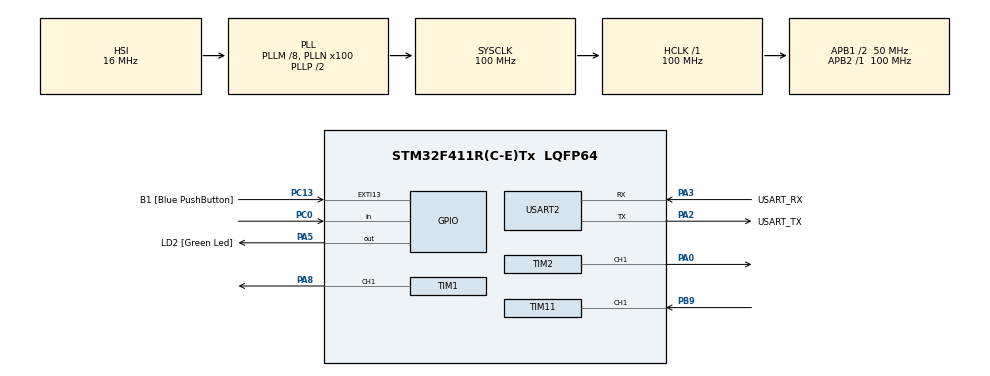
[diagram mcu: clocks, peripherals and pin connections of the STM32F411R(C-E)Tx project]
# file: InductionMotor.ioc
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Mcu.Family=STM32F4
Mcu.Name=STM32F411R(C-E)Tx
Mcu.Package=LQFP64
NVIC.PriorityGroup=NVIC_PRIORITYGROUP_0
NVIC.TIM1_TRG_COM_TIM11_IRQn=true\:0\:0\:false\:false\:true\:true\:true\:true
NVIC.USART2_IRQn=true\:0\:0\:false\:false\:true\:true\:true\:true
PA0-WKUP.Signal=S_TIM2_CH1_ETR
PA13.GPIO_Label=TMS
PA13.Mode=Serial_Wire
PA13.Signal=SYS_JTMS-SWDIO
PA14.GPIO_Label=TCK
PA14.Mode=Serial_Wire
PA14.Signal=SYS_JTCK-SWCLK
PA2.GPIO_Label=USART_TX
PA2.Mode=Asynchronous
PA2.Signal=USART2_TX
PA3.GPIO_Label=USART_RX
PA3.Mode=Asynchronous
PA3.Signal=USART2_RX
PA5.GPIO_Label=LD2 [Green Led]
PA5.Signal=GPIO_Output
PA8.Signal=S_TIM1_CH1
PB3.GPIO_Label=SWO
PB3.Signal=SYS_JTDO-SWO
PB9.Signal=S_TIM11_CH1
PC0.Signal=GPIO_Input
PC13-ANTI_TAMP.GPIO_Label=B1 [Blue PushButton]
PC13-ANTI_TAMP.GPIO_ModeDefaultEXTI=GPIO_MODE_IT_FALLING
PC13-ANTI_TAMP.Signal=GPXTI13
PC14-OSC32_IN.Mode=LSE-External-Oscillator
PC14-OSC32_IN.Signal=RCC_OSC32_IN
PC15-OSC32_OUT.Mode=LSE-External-Oscillator
PC15-OSC32_OUT.Signal=RCC_OSC32_OUT
PH0\ -\ OSC_IN.Mode=HSE-External-Clock-Source
PH0\ -\ OSC_IN.Signal=RCC_OSC_IN
PH1\ -\ OSC_OUT.Mode=HSE-External-Clock-Source
PH1\ -\ OSC_OUT.Signal=RCC_OSC_OUT
ProjectManager.HeapSize=0x200
ProjectManager.StackSize=0x400
ProjectManager.TargetToolchain=STM32CubeIDE
RCC.48MHZClocksFreq_Value=50000000
RCC.AHBFreq_Value=100000000
RCC.APB1CLKDivider=RCC_HCLK_DIV2
RCC.APB1Freq_Value=50000000
RCC.APB1TimFreq_Value=100000000
RCC.APB2Freq_Value=100000000
RCC.APB2TimFreq_Value=100000000
RCC.CortexFreq_Value=100000000
RCC.FLatency-AdvancedSettings=FLASH_LATENCY_3
RCC.HCLKFreq_Value=100000000
RCC.HSE_VALUE=8000000
RCC.HSI_VALUE=16000000
RCC.PLLM=8
RCC.PLLN=100
RCC.RCC_RTC_Clock_Source=RCC_RTCCLKSOURCE_LSI
RCC.RCC_RTC_Clock_SourceVirtual=RCC_RTCCLKSOURCE_LSI
RCC.SYSCLKFreq_VALUE=100000000
RCC.SYSCLKSource=RCC_SYSCLKSOURCE_PLLCLK
RCC.VCOOutputFreq_Value=200000000
SH.S_TIM11_CH1.0=TIM11_CH1,Input_Capture1_from_TI1
SH.S_TIM1_CH1.0=TIM1_CH1,PWM Generation1 CH1
SH.S_TIM2_CH1_ETR.0=TIM2_CH1,PWM Generation1 CH1
TIM1.AutoReloadPreload=TIM_AUTORELOAD_PRELOAD_ENABLE
TIM1.Channel-PWM\ Generation1\ CH1=TIM_CHANNEL_1
TIM1.OCFastMode_PWM-PWM\ Generation1\ CH1=TIM_OCFAST_ENABLE
TIM1.Period=100
TIM1.Prescaler=1-1
TIM1.Pulse-PWM\ Generation1\ CH1=10
TIM11.AutoReloadPreload=TIM_AUTORELOAD_PRELOAD_DISABLE
TIM11.Channel=TIM_CHANNEL_1
TIM11.ICPolarity_CH1=TIM_INPUTCHANNELPOLARITY_BOTHEDGE
TIM11.Prescaler=100-1
TIM2.AutoReloadPreload=TIM_AUTORELOAD_PRELOAD_ENABLE
TIM2.Channel-PWM\ Generation1\ CH1=TIM_CHANNEL_1
TIM2.OCFastMode_PWM-PWM\ Generation1\ CH1=TIM_OCFAST_ENABLE
TIM2.Period=10000
TIM2.Prescaler=200-1
TIM2.Pulse-PWM\ Generation1\ CH1=0
USART2.VirtualMode=VM_ASYNC
VP_TIM11_VS_ClockSourceINT.Mode=Enable_Timer
VP_TIM1_VS_ClockSourceINT.Mode=Internal
VP_TIM2_VS_ClockSourceINT.Mode=Internal
board=NUCLEO-F411RE

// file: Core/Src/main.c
/* USER CODE BEGIN Header */
/**
  ******************************************************************************
  * @file           : main.c
  * @brief          : Main program body
  ******************************************************************************
  * @attention
  *
  * Copyright (c) 2024 STMicroelectronics.
  * All rights reserved.
  *
  * This software is licensed under terms that can be found in the LICENSE file
  * in the root directory of this software component.
  * If no LICENSE file comes with this software, it is provided AS-IS.
  *
  ******************************************************************************
  */
/* USER CODE END Header */
#include "main.h"

TIM_HandleTypeDef htim1;
TIM_HandleTypeDef htim2;
TIM_HandleTypeDef htim11;

UART_HandleTypeDef huart2;

/* USER CODE BEGIN PV */
uint32_t EchoedValue = 0;
int messageUpdateTime=0;
int uart2Free=1;
uint32_t ServoUpdateTime=0;
int ServoAngle=0;
int servoDirection=0;
/* USER CODE END PV */

void SystemClock_Config(void);
static void MX_GPIO_Init(void);
static void MX_USART2_UART_Init(void);
static void MX_TIM1_Init(void);
static void MX_TIM11_Init(void);
static void MX_TIM2_Init(void);

/* USER CODE BEGIN 0 */
void HAL_TIM_IC_CaptureCallback(TIM_HandleTypeDef *htim){
	if(htim->Instance==TIM11){
		//Read value at falling edge
		if (!HAL_GPIO_ReadPin(GPIOB, GPIO_PIN_9)){
			 EchoedValue = HAL_TIM_ReadCapturedValue(&htim11, TIM_CHANNEL_1);
		}
		//Zero the value at rising edge
		else{
			__HAL_TIM_SET_COUNTER(&htim11,0);
		}
	}
  }

void HAL_UART_TxCpltCallback(UART_HandleTypeDef *huart){
	if (huart == &huart2){
		uart2Free=1;
	}
}
/* USER CODE END 0 */

int main(void)
{

  /* MCU Configuration--------------------------------------------------------*/

  /* Reset of all peripherals, Initializes the Flash interface and the Systick. */
  HAL_Init();

  /* Configure the system clock */
  SystemClock_Config();

  /* Initialize all configured peripherals */
  MX_GPIO_Init();
  MX_USART2_UART_Init();
  MX_TIM1_Init();
  MX_TIM11_Init();
  MX_TIM2_Init();
  /* USER CODE BEGIN 2 */
  HAL_TIM_PWM_Start(&htim1, TIM_CHANNEL_1);
  HAL_TIM_IC_Start_IT(&htim11, TIM_CHANNEL_1);
  HAL_TIM_PWM_Start(&htim2, TIM_CHANNEL_1);
  /* USER CODE END 2 */

  /* Infinite loop */
  /* USER CODE BEGIN WHILE */
  __HAL_TIM_SET_COMPARE(&htim2,TIM_CHANNEL_1,0);//250 to 1250
  while (1)
  {

	  if (HAL_GetTick()-messageUpdateTime>=50){
		  char message[100];
		  int messagaLen=0;
		  messagaLen=sprintf(&message,"Distance=%d,ServoAngle=%d, T=%d ,\n",EchoedValue/58,ServoAngle,messageUpdateTime);// microsecond divide by 58 will become distance in centimeter
		  if (uart2Free==1){
			  HAL_UART_Transmit_IT(&huart2, message, messagaLen);
			  uart2Free=0;
		  }
		  messageUpdateTime=HAL_GetTick();
	  }
	  if (HAL_GetTick()-ServoUpdateTime>=50){
		  if (ServoAngle>=1250){
			  servoDirection=1;
		  }
		  if (ServoAngle<=250){
			  servoDirection=0;
		  }
		  if (servoDirection==1){
			  ServoAngle-=5;
		  }
		  else{
			  ServoAngle+=5;
		  }
		  __HAL_TIM_SET_COMPARE(&htim2,TIM_CHANNEL_1,ServoAngle);//250 to 1250
		  ServoUpdateTime=HAL_GetTick();
	  }
    /* USER CODE END WHILE */

  }
}

void SystemClock_Config(void)
{
  RCC_OscInitTypeDef RCC_OscInitStruct = {0};
  RCC_ClkInitTypeDef RCC_ClkInitStruct = {0};

  /** Configure the main internal regulator output voltage
  */
  __HAL_RCC_PWR_CLK_ENABLE();
  __HAL_PWR_VOLTAGESCALING_CONFIG(PWR_REGULATOR_VOLTAGE_SCALE1);

  /** Initializes the RCC Oscillators according to the specified parameters
  * in the RCC_OscInitTypeDef structure.
  */
  RCC_OscInitStruct.OscillatorType = RCC_OSCILLATORTYPE_HSI|RCC_OSCILLATORTYPE_HSE;
  RCC_OscInitStruct.HSEState = RCC_HSE_BYPASS;
  RCC_OscInitStruct.HSIState = RCC_HSI_ON;
  RCC_OscInitStruct.HSICalibrationValue = RCC_HSICALIBRATION_DEFAULT;
  RCC_OscInitStruct.PLL.PLLState = RCC_PLL_ON;
  RCC_OscInitStruct.PLL.PLLSource = RCC_PLLSOURCE_HSI;
  RCC_OscInitStruct.PLL.PLLM = 8;
  RCC_OscInitStruct.PLL.PLLN = 100;
  RCC_OscInitStruct.PLL.PLLP = RCC_PLLP_DIV2;
  RCC_OscInitStruct.PLL.PLLQ = 4;
  if (HAL_RCC_OscConfig(&RCC_OscInitStruct) != HAL_OK)
  {
    Error_Handler();
  }

  /** Initializes the CPU, AHB and APB buses clocks
  */
  RCC_ClkInitStruct.ClockType = RCC_CLOCKTYPE_HCLK|RCC_CLOCKTYPE_SYSCLK
                              |RCC_CLOCKTYPE_PCLK1|RCC_CLOCKTYPE_PCLK2;
  RCC_ClkInitStruct.SYSCLKSource = RCC_SYSCLKSOURCE_PLLCLK;
  RCC_ClkInitStruct.AHBCLKDivider = RCC_SYSCLK_DIV1;
  RCC_ClkInitStruct.APB1CLKDivider = RCC_HCLK_DIV2;
  RCC_ClkInitStruct.APB2CLKDivider = RCC_HCLK_DIV1;

  if (HAL_RCC_ClockConfig(&RCC_ClkInitStruct, FLASH_LATENCY_3) != HAL_OK)
  {
    Error_Handler();
  }
}

static void MX_TIM1_Init(void)
{

  TIM_ClockConfigTypeDef sClockSourceConfig = {0};
  TIM_MasterConfigTypeDef sMasterConfig = {0};
  TIM_OC_InitTypeDef sConfigOC = {0};
  TIM_BreakDeadTimeConfigTypeDef sBreakDeadTimeConfig = {0};

  htim1.Instance = TIM1;
  htim1.Init.Prescaler = 1-1;
  htim1.Init.CounterMode = TIM_COUNTERMODE_UP;
  htim1.Init.Period = 100;
  htim1.Init.ClockDivision = TIM_CLOCKDIVISION_DIV1;
  htim1.Init.RepetitionCounter = 0;
  htim1.Init.AutoReloadPreload = TIM_AUTORELOAD_PRELOAD_ENABLE;
  if (HAL_TIM_Base_Init(&htim1) != HAL_OK)
  {
    Error_Handler();
  }
  sClockSourceConfig.ClockSource = TIM_CLOCKSOURCE_INTERNAL;
  if (HAL_TIM_ConfigClockSource(&htim1, &sClockSourceConfig) != HAL_OK)
  {
    Error_Handler();
  }
  if (HAL_TIM_PWM_Init(&htim1) != HAL_OK)
  {
    Error_Handler();
  }
  sMasterConfig.MasterOutputTrigger = TIM_TRGO_RESET;
  sMasterConfig.MasterSlaveMode = TIM_MASTERSLAVEMODE_DISABLE;
  if (HAL_TIMEx_MasterConfigSynchronization(&htim1, &sMasterConfig) != HAL_OK)
  {
    Error_Handler();
  }
  sConfigOC.OCMode = TIM_OCMODE_PWM1;
  sConfigOC.Pulse = 10;
  sConfigOC.OCPolarity = TIM_OCPOLARITY_HIGH;
  sConfigOC.OCNPolarity = TIM_OCNPOLARITY_HIGH;
  sConfigOC.OCFastMode = TIM_OCFAST_ENABLE;
  sConfigOC.OCIdleState = TIM_OCIDLESTATE_RESET;
  sConfigOC.OCNIdleState = TIM_OCNIDLESTATE_RESET;
  if (HAL_TIM_PWM_ConfigChannel(&htim1, &sConfigOC, TIM_CHANNEL_1) != HAL_OK)
  {
    Error_Handler();
  }
  sBreakDeadTimeConfig.OffStateRunMode = TIM_OSSR_DISABLE;
  sBreakDeadTimeConfig.OffStateIDLEMode = TIM_OSSI_DISABLE;
  sBreakDeadTimeConfig.LockLevel = TIM_LOCKLEVEL_OFF;
  sBreakDeadTimeConfig.DeadTime = 0;
  sBreakDeadTimeConfig.BreakState = TIM_BREAK_DISABLE;
  sBreakDeadTimeConfig.BreakPolarity = TIM_BREAKPOLARITY_HIGH;
  sBreakDeadTimeConfig.AutomaticOutput = TIM_AUTOMATICOUTPUT_DISABLE;
  if (HAL_TIMEx_ConfigBreakDeadTime(&htim1, &sBreakDeadTimeConfig) != HAL_OK)
  {
    Error_Handler();
  }
  HAL_TIM_MspPostInit(&htim1);

}

static void MX_TIM2_Init(void)
{

  TIM_ClockConfigTypeDef sClockSourceConfig = {0};
  TIM_MasterConfigTypeDef sMasterConfig = {0};
  TIM_OC_InitTypeDef sConfigOC = {0};

  htim2.Instance = TIM2;
  htim2.Init.Prescaler = 200-1;
  htim2.Init.CounterMode = TIM_COUNTERMODE_UP;
  htim2.Init.Period = 10000;
  htim2.Init.ClockDivision = TIM_CLOCKDIVISION_DIV1;
  htim2.Init.AutoReloadPreload = TIM_AUTORELOAD_PRELOAD_ENABLE;
  if (HAL_TIM_Base_Init(&htim2) != HAL_OK)
  {
    Error_Handler();
  }
  sClockSourceConfig.ClockSource = TIM_CLOCKSOURCE_INTERNAL;
  if (HAL_TIM_ConfigClockSource(&htim2, &sClockSourceConfig) != HAL_OK)
  {
    Error_Handler();
  }
  if (HAL_TIM_PWM_Init(&htim2) != HAL_OK)
  {
    Error_Handler();
  }
  sMasterConfig.MasterOutputTrigger = TIM_TRGO_RESET;
  sMasterConfig.MasterSlaveMode = TIM_MASTERSLAVEMODE_DISABLE;
  if (HAL_TIMEx_MasterConfigSynchronization(&htim2, &sMasterConfig) != HAL_OK)
  {
    Error_Handler();
  }
  sConfigOC.OCMode = TIM_OCMODE_PWM1;
  sConfigOC.Pulse = 0;
  sConfigOC.OCPolarity = TIM_OCPOLARITY_HIGH;
  sConfigOC.OCFastMode = TIM_OCFAST_ENABLE;
  if (HAL_TIM_PWM_ConfigChannel(&htim2, &sConfigOC, TIM_CHANNEL_1) != HAL_OK)
  {
    Error_Handler();
  }
  HAL_TIM_MspPostInit(&htim2);

}

static void MX_TIM11_Init(void)
{

  TIM_IC_InitTypeDef sConfigIC = {0};

  htim11.Instance = TIM11;
  htim11.Init.Prescaler = 100-1;
  htim11.Init.CounterMode = TIM_COUNTERMODE_UP;
  htim11.Init.Period = 65535;
  htim11.Init.ClockDivision = TIM_CLOCKDIVISION_DIV1;
  htim11.Init.AutoReloadPreload = TIM_AUTORELOAD_PRELOAD_DISABLE;
  if (HAL_TIM_Base_Init(&htim11) != HAL_OK)
  {
    Error_Handler();
  }
  if (HAL_TIM_IC_Init(&htim11) != HAL_OK)
  {
    Error_Handler();
  }
  sConfigIC.ICPolarity = TIM_INPUTCHANNELPOLARITY_BOTHEDGE;
  sConfigIC.ICSelection = TIM_ICSELECTION_DIRECTTI;
  sConfigIC.ICPrescaler = TIM_ICPSC_DIV1;
  sConfigIC.ICFilter = 0;
  if (HAL_TIM_IC_ConfigChannel(&htim11, &sConfigIC, TIM_CHANNEL_1) != HAL_OK)
  {
    Error_Handler();
  }

}

static void MX_USART2_UART_Init(void)
{

  huart2.Instance = USART2;
  huart2.Init.BaudRate = 115200;
  huart2.Init.WordLength = UART_WORDLENGTH_8B;
  huart2.Init.StopBits = UART_STOPBITS_1;
  huart2.Init.Parity = UART_PARITY_NONE;
  huart2.Init.Mode = UART_MODE_TX_RX;
  huart2.Init.HwFlowCtl = UART_HWCONTROL_NONE;
  huart2.Init.OverSampling = UART_OVERSAMPLING_16;
  if (HAL_UART_Init(&huart2) != HAL_OK)
  {
    Error_Handler();
  }

}

static void MX_GPIO_Init(void)
{
  GPIO_InitTypeDef GPIO_InitStruct = {0};

  /* GPIO Ports Clock Enable */
  __HAL_RCC_GPIOC_CLK_ENABLE();
  __HAL_RCC_GPIOH_CLK_ENABLE();
  __HAL_RCC_GPIOA_CLK_ENABLE();
  __HAL_RCC_GPIOB_CLK_ENABLE();

  /*Configure GPIO pin Output Level */
  HAL_GPIO_WritePin(LD2_GPIO_Port, LD2_Pin, GPIO_PIN_RESET);

  /*Configure GPIO pin : B1_Pin */
  GPIO_InitStruct.Pin = B1_Pin;
  GPIO_InitStruct.Mode = GPIO_MODE_IT_FALLING;
  GPIO_InitStruct.Pull = GPIO_NOPULL;
  HAL_GPIO_Init(B1_GPIO_Port, &GPIO_InitStruct);

  /*Configure GPIO pin : PC0 */
  GPIO_InitStruct.Pin = GPIO_PIN_0;
  GPIO_InitStruct.Mode = GPIO_MODE_INPUT;
  GPIO_InitStruct.Pull = GPIO_NOPULL;
  HAL_GPIO_Init(GPIOC, &GPIO_InitStruct);

  /*Configure GPIO pin : LD2_Pin */
  GPIO_InitStruct.Pin = LD2_Pin;
  GPIO_InitStruct.Mode = GPIO_MODE_OUTPUT_PP;
  GPIO_InitStruct.Pull = GPIO_NOPULL;
  GPIO_InitStruct.Speed = GPIO_SPEED_FREQ_LOW;
  HAL_GPIO_Init(LD2_GPIO_Port, &GPIO_InitStruct);

}

void Error_Handler(void)
{
  __disable_irq();
  while (1)
  {
  }
}
